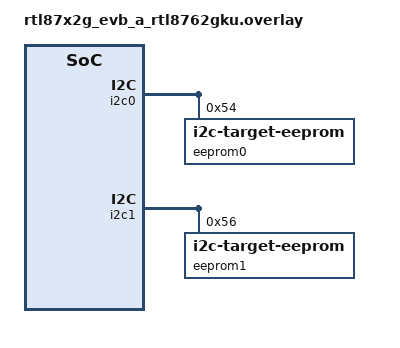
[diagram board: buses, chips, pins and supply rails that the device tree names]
/*
 * Copyright (c) 2026, Realtek Semiconductor Corporation
 *
 * SPDX-License-Identifier: Apache-2.0
 */

/*
 * The Bee I2C controller cannot act as controller and target at the same
 * time, so this test runs in single-role mode: i2c0 and i2c1 are two
 * independent buses that must be wired together on the board
 * (SCL0-SCL1 and SDA0-SDA1 shorted, the "i2c_bus_short" fixture).
 *
 * i2c0: SCL = P2_2, SDA = P2_3
 * i2c1: SCL = P2_4, SDA = P2_5
 */

&i2c0 {
	pinctrl-0 = <&i2c0_default>;
	pinctrl-names = "default";
	status = "okay";

	eeprom0: eeprom@54 {
		compatible = "zephyr,i2c-target-eeprom";
		reg = <0x54>;
		address-width = <8>;
		size = <256>;
	};
};

&i2c1 {
	pinctrl-0 = <&i2c1_default>;
	pinctrl-names = "default";
	status = "okay";

	eeprom1: eeprom@56 {
		compatible = "zephyr,i2c-target-eeprom";
		reg = <0x56>;
		address-width = <8>;
		size = <256>;
	};
};

&pinctrl {
	i2c0_default: i2c0_default {
		group1 {
			psels = <BEE_PSEL(I2C0_CLK, P2_2)>,
				<BEE_PSEL(I2C0_DAT, P2_3)>;
			output-enable;
			output-high;
			bias-pull-up;
		};
	};

	i2c1_default: i2c1_default {
		group1 {
			psels = <BEE_PSEL(I2C1_CLK, P2_4)>,
				<BEE_PSEL(I2C1_DAT, P2_5)>;
			output-enable;
			output-high;
			bias-pull-up;
		};
	};
};
